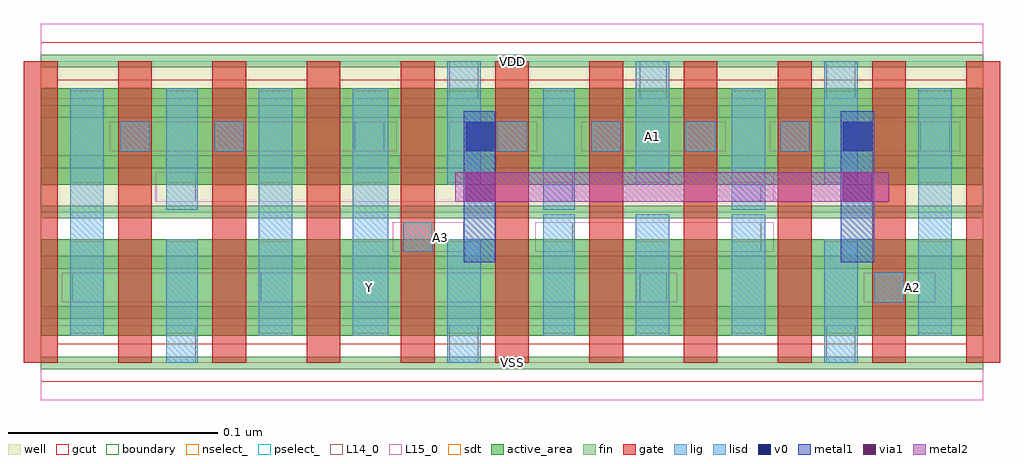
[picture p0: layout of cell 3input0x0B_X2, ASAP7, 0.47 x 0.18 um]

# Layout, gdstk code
import gdstk
lib = gdstk.Library(unit=1e-6, precision=1e-09)
def R(c, l, rs):  # rectangles x0, y0, x1, y1
    for r in rs: c.add(gdstk.rectangle(r[:2], r[2:], *l))
def A(c, l, x, y, w, h, nx, ny, dx, dy):  # array of equal rectangles
    R(c, l, [(x+i*dx, y+j*dy, x+i*dx+w, y+j*dy+h) for i in range(nx) for j in range(ny)])
def P(c, l, *ps):  # polygons
    for p in ps: c.add(gdstk.Polygon(p, *l))
well = (1, 0)
fin = (2, 0)
gate = (7, 0)
gcut = (10, 0)
active_area = (11, 0)
nselect_ = (12, 0)
pselect_ = (13, 0)
L14_0 = (14, 0)
L15_0 = (15, 0)
lig = (16, 0)
lisd = (17, 0)
v0 = (18, 0)
metal1 = (19, 0)
metal2 = (20, 0)
via1 = (21, 0)
sdt = (88, 0)
boundary = (100, 0)

c_3input0x0b_x2 = lib.new_cell('3input0x0B_X2')
R(c_3input0x0b_x2, well, [(0,0.072,0.45,0.144)])
A(c_3input0x0b_x2, fin, 0, -0.003, 0.45, 0.006, 1, 7, 0, 0.024)
A(c_3input0x0b_x2, gate, -0.008, 0, 0.016, 0.144, 11, 1, 0.045, 0)
P(c_3input0x0b_x2, gcut, [(0,-0.009),(0,0),(-0.008,0),(-0.008,0.135),(0.008,0.135),(0.008,0.009),(0.127,0.009),(0.127,0.135),(0.143,0.135),(0.143,0.009),(0.442,0.009),(0.442,0.135),(-0.008,0.135),(-0.008,0.144),(0,0.144),(0,0.153),(0.45,0.153),(0.45,0.144),(0.458,0.144),(0.458,0),(0.45,0),(0.45,-0.009)])
R(c_3input0x0b_x2, active_area, [(0,0.013,0.45,0.059), (0,0.085,0.45,0.131)])
R(c_3input0x0b_x2, nselect_, [(0,0,0.45,0.072)])
R(c_3input0x0b_x2, pselect_, [(0,0.072,0.45,0.144)])
A(c_3input0x0b_x2, L14_0, 0.218, 0.101, 0.014, 0.014, 4, 1, 0.045, 0)
R(c_3input0x0b_x2, L14_0, [(0.06,0,0.074,0.018), (0.195,0,0.209,0.018), (0.375,0,0.389,0.018), (0.015,0.029,0.03,0.043), (0.105,0.029,0.12,0.043), (0.286,0.029,0.299,0.043), (0.398,0.029,0.412,0.043), (0.173,0.053,0.187,0.067), (0.24,0.053,0.254,0.067), (0.33,0.053,0.344,0.067), (0.06,0.077,0.074,0.091), (0.24,0.077,0.254,0.091), (0.33,0.077,0.344,0.091), (0.038,0.101,0.052,0.115), (0.083,0.101,0.097,0.115), (0.15,0.101,0.164,0.115), (0.42,0.101,0.434,0.115), (0.195,0.126,0.209,0.144), (0.286,0.126,0.299,0.144), (0.375,0.126,0.389,0.144)])
R(c_3input0x0b_x2, L15_0, [(0,-0.018,0.45,0.018), (0.01,0.029,0.304,0.043), (0.393,0.029,0.427,0.043), (0.168,0.053,0.202,0.067), (0.236,0.053,0.35,0.067), (0.055,0.077,0.35,0.091), (0.033,0.101,0.17,0.115), (0.195,0.101,0.237,0.115), (0.258,0.101,0.327,0.115), (0.348,0.101,0.439,0.115), (0,0.126,0.45,0.162)])
A(c_3input0x0b_x2, lig, 0.218, 0.101, 0.014, 0.014, 4, 1, 0.045, 0)
R(c_3input0x0b_x2, lig, [(0.398,0.029,0.412,0.043), (0.173,0.053,0.187,0.067), (0.038,0.101,0.052,0.115), (0.083,0.101,0.097,0.115)])
A(c_3input0x0b_x2, lisd, 0.194, 0.085, 0.016, 0.059, 3, 1, 0.09, 0)
R(c_3input0x0b_x2, lisd, [(0.06,0,0.075,0.059), (0.194,0,0.21,0.059), (0.374,0,0.39,0.059), (0.014,0.013,0.03,0.131), (0.104,0.013,0.12,0.131), (0.149,0.013,0.166,0.131), (0.24,0.013,0.255,0.071), (0.284,0.013,0.3,0.071), (0.33,0.013,0.346,0.071), (0.419,0.013,0.435,0.131), (0.06,0.073,0.075,0.131), (0.24,0.073,0.255,0.131), (0.33,0.073,0.346,0.131)])
R(c_3input0x0b_x2, v0, [(0.203,0.101,0.217,0.115), (0.383,0.101,0.397,0.115)])
R(c_3input0x0b_x2, metal1, [(0.202,0.048,0.217,0.12), (0.382,0.048,0.398,0.12)])
R(c_3input0x0b_x2, metal2, [(0.198,0.077,0.405,0.091)])
R(c_3input0x0b_x2, via1, [(0.203,0.077,0.217,0.091), (0.383,0.077,0.397,0.091)])
A(c_3input0x0b_x2, sdt, 0.014, 0.014, 0.016, 0.044, 4, 2, 0.09, 0.072)
R(c_3input0x0b_x2, sdt, [(0.06,0.014,0.075,0.058), (0.149,0.014,0.166,0.058), (0.24,0.014,0.255,0.058), (0.33,0.014,0.346,0.058), (0.374,0.014,0.39,0.058), (0.419,0.014,0.435,0.058), (0.06,0.086,0.075,0.13), (0.149,0.086,0.166,0.13), (0.24,0.086,0.255,0.13), (0.33,0.086,0.346,0.13), (0.374,0.086,0.39,0.13), (0.419,0.086,0.435,0.13)])
R(c_3input0x0b_x2, boundary, [(0,0,0.45,0.144)])
c_3input0x0b_x2.add(gdstk.Label('A3', (0.191,0.06), layer=15, texttype=251))
c_3input0x0b_x2.add(gdstk.Label('VSS', (0.225,0), layer=15, texttype=251))
c_3input0x0b_x2.add(gdstk.Label('VDD', (0.225,0.144), layer=15, texttype=251))
c_3input0x0b_x2.add(gdstk.Label('A1', (0.292,0.108), layer=15, texttype=251))
c_3input0x0b_x2.add(gdstk.Label('VSS', (0.225,0), layer=15, texttype=251))
c_3input0x0b_x2.add(gdstk.Label('VDD', (0.225,0.144), layer=15, texttype=251))
c_3input0x0b_x2.add(gdstk.Label('Y', (0.157,0.036), layer=15, texttype=251))
c_3input0x0b_x2.add(gdstk.Label('VSS', (0.225,0), layer=15, texttype=251))
c_3input0x0b_x2.add(gdstk.Label('VDD', (0.225,0.144), layer=15, texttype=251))
c_3input0x0b_x2.add(gdstk.Label('A2', (0.416,0.036), layer=15, texttype=251))
c_3input0x0b_x2.add(gdstk.Label('VSS', (0.225,0), layer=15, texttype=251))
c_3input0x0b_x2.add(gdstk.Label('VDD', (0.225,0.144), layer=15, texttype=251))
c_3input0x0b_x2.add(gdstk.Label('VSS', (0.225,0), layer=3, texttype=251))
c_3input0x0b_x2.add(gdstk.Label('VSS', (0.225,0), layer=3, texttype=251))
c_3input0x0b_x2.add(gdstk.Label('VSS', (0.225,0), layer=3, texttype=251))
c_3input0x0b_x2.add(gdstk.Label('VSS', (0.225,0), layer=3, texttype=251))
c_3input0x0b_x2.add(gdstk.Label('VDD', (0.225,0.144), layer=1, texttype=251))
c_3input0x0b_x2.add(gdstk.Label('VDD', (0.225,0.144), layer=1, texttype=251))
c_3input0x0b_x2.add(gdstk.Label('VDD', (0.225,0.144), layer=1, texttype=251))
c_3input0x0b_x2.add(gdstk.Label('VDD', (0.225,0.144), layer=1, texttype=251))

lib.write_gds('3input0x0B_X2.gds')
